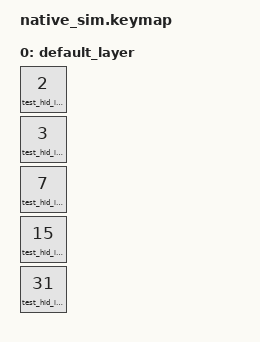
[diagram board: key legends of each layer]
#include <dt-bindings/zmk/keys.h>
#include <dt-bindings/zmk/kscan_mock.h>
#include <dt-bindings/zmk/led_matrix.h>
#include <dt-bindings/zmk/led_matrix_colors.h>
#include <dt-bindings/led/led.h>
#include <behaviors.dtsi>

/ {
    chosen {
        zmk,kscan = &kscan;
        zmk,led-matrix = &led_matrix;
    };

    behaviors {
        test_hid_indicators: test_hid_indicators {
            compatible = "zmk,behavior-raise-hid-indicators";
            #binding-cells = <1>;
        };
    };

    kscan: native_posix_64_kscan_mock {
        compatible = "zmk,kscan-mock";
        rows = <1>;
        columns = <5>;
        exit-after;
        events = <
            ZMK_MOCK_PRESS(0,0,10)
            ZMK_MOCK_RELEASE(0,0,20)
            ZMK_MOCK_PRESS(0,1,120)
            ZMK_MOCK_RELEASE(0,1,20)
            ZMK_MOCK_PRESS(0,2,220)
            ZMK_MOCK_RELEASE(0,2,20)
            ZMK_MOCK_PRESS(0,3,320)
            ZMK_MOCK_RELEASE(0,3,20)
            ZMK_MOCK_PRESS(0,4,420)
            ZMK_MOCK_RELEASE(0,4,20)
        >;
    };

    keymap {
        compatible = "zmk,keymap";

        default_layer {
            bindings = <
                &test_hid_indicators 2
                &test_hid_indicators 3
                &test_hid_indicators 7
                &test_hid_indicators 15
                &test_hid_indicators 31
            >;
        };
    };

    led_matrix_dev: led_matrix_dev {
        compatible = "zmk,led-mock";
        mode = "color";

        led_0 { index = <0>; color-mapping = <LED_COLOR_ID_RED LED_COLOR_ID_GREEN LED_COLOR_ID_BLUE>; };
    };

    led_matrix: led_matrix {
        compatible = "zmk,led-matrix";
        led-driver = "matrix";
        led-device = <&led_matrix_dev>;
        led-count = <1>;
        status-timeout-ms = <1000>;
        hid-timeout-ms = <1000>;
        hid-caps-leds = <0>;
        hid-caps-color-on = <0xFF0000>;
        hid-caps-color-off = <LM_BLACK>;
        hid-num-leds = <0>;
        hid-num-color-on = <0x00FF00>;
        hid-num-color-off = <LM_BLACK>;
        hid-scroll-leds = <0>;
        hid-scroll-color-on = <0x0000FF>;
        hid-scroll-color-off = <LM_BLACK>;
        hid-compose-leds = <0>;
        hid-compose-color-on = <0xFFFF00>;
        hid-compose-color-off = <LM_BLACK>;
        hid-kana-leds = <0>;
        hid-kana-color-on = <0xFF00FF>;
        hid-kana-color-off = <LM_BLACK>;
        matrix-led-grid = <
            0
        >;

        profile0 {
            profile-id = <0>;
            display-name = "Off";
            renderer = "solid";
            colors = <LM_BLACK>;
            brightness = <100>;
            period-ms = <1000>;
        };
    };
};
